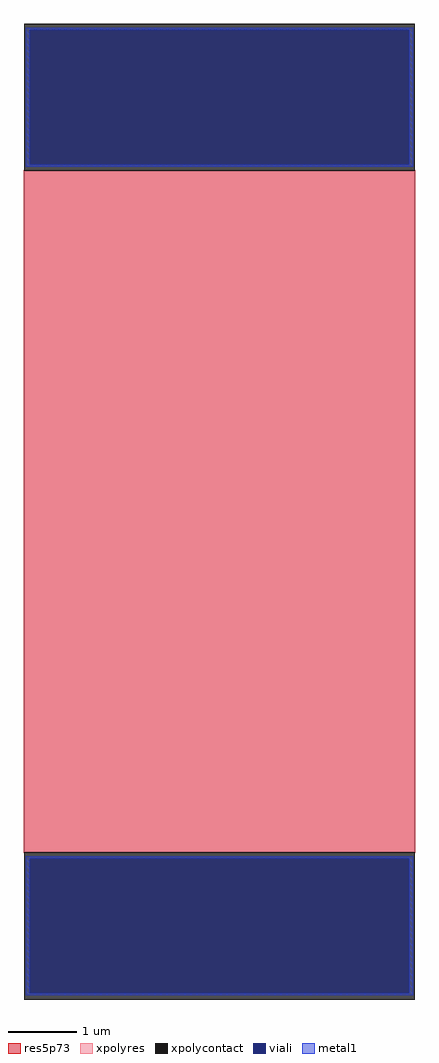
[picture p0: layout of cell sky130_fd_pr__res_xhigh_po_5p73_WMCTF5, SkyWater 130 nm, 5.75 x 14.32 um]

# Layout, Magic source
magic
tech sky130A
magscale 1 2
<< xpolycontact >>
rect -573 1000 573 1432
rect -573 -1432 573 -1000
<< xpolyres >>
rect -573 -1000 573 1000
<< viali >>
rect -557 1017 557 1414
rect -557 -1414 557 -1017
<< metal1 >>
rect -569 1414 569 1420
rect -569 1017 -557 1414
rect 557 1017 569 1414
rect -569 1011 569 1017
rect -569 -1017 569 -1011
rect -569 -1414 -557 -1017
rect 557 -1414 569 -1017
rect -569 -1420 569 -1414
<< res5p73 >>
rect -575 -1002 575 1002
<< properties >>
string gencell sky130_fd_pr__res_xhigh_po_5p73
string library sky130
string parameters w 5.730 l 10 m 1 nx 1 wmin 5.730 lmin 0.50 rho 2000 val 3.556k dummy 0 dw 0.0 term 188.2 sterm 0.0 caplen 0 wmax 5.730 guard 0 glc 1 grc 1 gtc 1 gbc 1 compatible {sky130_fd_pr__res_xhigh_po_0p35  sky130_fd_pr__res_xhigh_po_0p69 sky130_fd_pr__res_xhigh_po_1p41  sky130_fd_pr__res_xhigh_po_2p85 sky130_fd_pr__res_xhigh_po_5p73} full_metal 1 n_guard 0 hv_guard 0 vias 1 viagb 0 viagt 0 viagl 0 viagr 0
<< end >>
